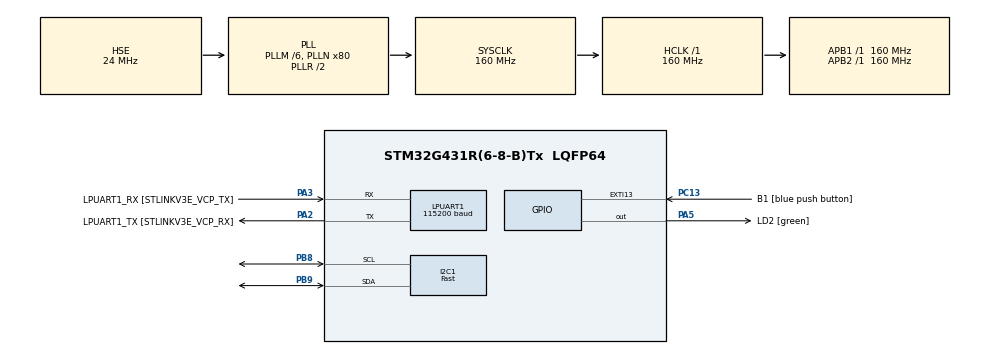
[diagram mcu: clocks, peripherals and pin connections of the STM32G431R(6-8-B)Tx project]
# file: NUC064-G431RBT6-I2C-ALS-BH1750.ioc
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I2C1.I2C_Speed_Mode=I2C_Fast
I2C1.Timing=0x00F07BFF
LPUART1.BaudRate=115200
LPUART1.WordLength=UART_WORDLENGTH_8B
Mcu.Family=STM32G4
Mcu.Name=STM32G431R(6-8-B)Tx
Mcu.Package=LQFP64
NVIC.EXTI15_10_IRQn=true\:0\:0\:false\:false\:true\:true\:true
NVIC.PriorityGroup=NVIC_PRIORITYGROUP_4
PA13.GPIO_Label=T_SWDIO
PA13.Mode=Trace_Asynchronous_SW
PA13.Signal=SYS_JTMS-SWDIO
PA14.GPIO_Label=T_SWCLK
PA14.Mode=Trace_Asynchronous_SW
PA14.Signal=SYS_JTCK-SWCLK
PA2.GPIO_Label=LPUART1_TX [STLINKV3E_VCP_RX]
PA2.Mode=Asynchronous
PA2.Signal=LPUART1_TX
PA3.GPIO_Label=LPUART1_RX [STLINKV3E_VCP_TX]
PA3.Mode=Asynchronous
PA3.Signal=LPUART1_RX
PA5.GPIO_Label=LD2 [green]
PA5.Signal=GPIO_Output
PB3.GPIO_Label=T_SWO
PB3.Mode=Trace_Asynchronous_SW
PB3.Signal=SYS_JTDO-SWO
PB8-BOOT0.GPIO_FM8=SYSCFG_FASTMODEPLUS_PB8
PB8-BOOT0.GPIO_Speed=GPIO_SPEED_FREQ_VERY_HIGH
PB8-BOOT0.Mode=I2C
PB8-BOOT0.Signal=I2C1_SCL
PB9.GPIO_FM9=SYSCFG_FASTMODEPLUS_PB9
PB9.GPIO_Speed=GPIO_SPEED_FREQ_VERY_HIGH
PB9.Mode=I2C
PB9.Signal=I2C1_SDA
PC13.GPIO_Label=B1 [blue push button]
PC13.Signal=GPXTI13
PF0-OSC_IN.Mode=HSE-External-Oscillator
PF0-OSC_IN.Signal=RCC_OSC_IN
PF1-OSC_OUT.Mode=HSE-External-Oscillator
PF1-OSC_OUT.Signal=RCC_OSC_OUT
ProjectManager.HeapSize=0x200
ProjectManager.StackSize=0x400
ProjectManager.TargetToolchain=STM32CubeIDE
RCC.ADC12Freq_Value=160000000
RCC.AHBFreq_Value=160000000
RCC.APB1Freq_Value=160000000
RCC.APB1TimFreq_Value=160000000
RCC.APB2Freq_Value=160000000
RCC.APB2TimFreq_Value=160000000
RCC.CortexFreq_Value=160000000
RCC.EXTERNAL_CLOCK_VALUE=12288000
RCC.HCLKFreq_Value=160000000
RCC.HSE_VALUE=24000000
RCC.HSI48_VALUE=48000000
RCC.HSI_VALUE=16000000
RCC.LSE_VALUE=32768
RCC.PLLM=RCC_PLLM_DIV6
RCC.PLLN=80
RCC.PLLSourceVirtual=RCC_PLLSOURCE_HSE
RCC.RTCClockSelection=RCC_RTCCLKSOURCE_LSE
RCC.SYSCLKFreq_VALUE=160000000
RCC.SYSCLKSource=RCC_SYSCLKSOURCE_PLLCLK
RCC.USBFreq_Value=160000000
RCC.VCOOutputFreq_Value=320000000
VP_SYS_VS_DBSignals.Mode=DisableDeadBatterySignals
board=NUCLEO-G431RB

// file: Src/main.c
/* USER CODE BEGIN Header */
/**
  ******************************************************************************
  * @file           : main.c
  * @brief          : Main program body
  ******************************************************************************
  * @attention
  *
  * <h2><center>&copy; Copyright (c) 2020 STMicroelectronics.
  * All rights reserved.</center></h2>
  *
  * This software component is licensed by ST under BSD 3-Clause license,
  * the "License"; You may not use this file except in compliance with the
  * License. You may obtain a copy of the License at:
  *                        opensource.org/licenses/BSD-3-Clause
  *
  ******************************************************************************
  */
/* USER CODE END Header */

#include "main.h"

/* USER CODE BEGIN Includes */
#include <stdio.h>								// funkce pro ovládání vstupu a výstupu (USART)
#include <string.h>								// definice maker, konstant a deklarace funkcí a typů
#include <stdint.h>								// definice proměnných
#include "bh1750.h"								// knihovna pro light sensor BH1750

/* USER CODE END Includes */

/* USER CODE BEGIN PTD */
#define INTERVAL 500							// interval v ms
//#define STM_STUDIO

/* USER CODE END PTD */

I2C_HandleTypeDef hi2c1;

UART_HandleTypeDef hlpuart1;

/* USER CODE BEGIN PV */
int lastTick;								// Multitasking delay
int i = 0;									// Count impulse
float BH1750_lux;

/* USER CODE END PV */

void SystemClock_Config(void);
static void MX_GPIO_Init(void);
static void MX_I2C1_Init(void);
static void MX_LPUART1_UART_Init(void);
/* USER CODE BEGIN PFP */
void USER_I2c_Scanner(void);

/* USART --------------------------------------------------------------------*/
#ifdef __GNUC__
/* With GCC/RAISONANCE, small printf (option LD Linker->Libraries->Small printf
 set to 'Yes') calls __io_putchar() */
#define PUTCHAR_PROTOTYPE int __io_putchar(int ch)
#else
#define PUTCHAR_PROTOTYPE int fputc(int ch, FILE *f)
#endif /* __GNUC__ */

/* ???? --------------------------------------------------------------------*/
#ifndef __UUID_H
#define __UUID_H
//#define STM32_UUID ((uint32_t *)0x1FF0F420)
#define STM32_UUID ((uint32_t *)UID_BASE)
#endif //__UUID_H

/* Light sensor  ------------------------------------------------------------*/
int lightSensorLux();

/* USER CODE END PFP */

int main(void)
{

  /* MCU Configuration--------------------------------------------------------*/

  /* Reset of all peripherals, Initializes the Flash interface and the Systick. */
  HAL_Init();

  /* Configure the system clock */
  SystemClock_Config();

  /* Initialize all configured peripherals */
  MX_GPIO_Init();
  MX_I2C1_Init();
  MX_LPUART1_UART_Init();
  /* USER CODE BEGIN 2 */
/**************************** i2C - scanner **************************************/
  USER_I2c_Scanner();
/**************************** Light sensor  **************************************/
  BH1750_Init(&hi2c1);							// kontrola připojení. vrací: BH1750_OK & BH1750_ERROR
  BH1750_SetMode(CONTINUOUS_HIGH_RES_MODE_2);	// Nastavení režimu snímání

  /* USER CODE END 2 */

  /* Infinite loop */
  /* USER CODE BEGIN WHILE */
  char buffer[40];
  uint8_t size;

  while (1)
  {
	/*******************  BH1750 **************************************/
	/*
	  //#ifdef STM_STUDIO
	  //BH1750_ReadLight(&BH1750_lux);
	//#else
	  if(BH1750_OK == BH1750_ReadLight(&BH1750_lux))
	  {
		  printf("=>OK\n\r");
		  size = sprintf(buffer, "BH1750 Lux: %.2f\n\r", BH1750_lux);
	  	  HAL_UART_Transmit(&hlpuart1, (uint8_t*)buffer, size, 100);
	  }
	  HAL_Delay(200);
	//#endif
	 */

		if((HAL_GetTick() - lastTick) > INTERVAL)
		{
			lastTick	=	HAL_GetTick();							//Update last Tick
			  if(BH1750_OK == BH1750_ReadLight(&BH1750_lux))
			  {
				  size = sprintf(buffer, "BH1750 Lux: %.2f\n\r", BH1750_lux);
			  	  HAL_UART_Transmit(&hlpuart1, (uint8_t*)buffer, size, 100);
			  }
			//printf ("Count: %04d \n \r", i);
			//HAL_GPIO_TogglePin (GPIOB, LD1_Pin); 					// Přepnout zelenou LED
			//HAL_GPIO_TogglePin (GPIOB, LD2_Pin); 					// Přepnout modrou LED
			//HAL_GPIO_TogglePin (GPIOB, LD3_Pin); 					// Přepnout červenou LED
			i++;
		}
    /* USER CODE END WHILE */

  }
}

void SystemClock_Config(void)
{
  RCC_OscInitTypeDef RCC_OscInitStruct = {0};
  RCC_ClkInitTypeDef RCC_ClkInitStruct = {0};
  RCC_PeriphCLKInitTypeDef PeriphClkInit = {0};

  /** Configure the main internal regulator output voltage
  */
  HAL_PWREx_ControlVoltageScaling(PWR_REGULATOR_VOLTAGE_SCALE1_BOOST);
  /** Initializes the CPU, AHB and APB busses clocks
  */
  RCC_OscInitStruct.OscillatorType = RCC_OSCILLATORTYPE_HSE;
  RCC_OscInitStruct.HSEState = RCC_HSE_ON;
  RCC_OscInitStruct.PLL.PLLState = RCC_PLL_ON;
  RCC_OscInitStruct.PLL.PLLSource = RCC_PLLSOURCE_HSE;
  RCC_OscInitStruct.PLL.PLLM = RCC_PLLM_DIV6;
  RCC_OscInitStruct.PLL.PLLN = 80;
  RCC_OscInitStruct.PLL.PLLP = RCC_PLLP_DIV2;
  RCC_OscInitStruct.PLL.PLLQ = RCC_PLLQ_DIV2;
  RCC_OscInitStruct.PLL.PLLR = RCC_PLLR_DIV2;
  if (HAL_RCC_OscConfig(&RCC_OscInitStruct) != HAL_OK)
  {
    Error_Handler();
  }
  /** Initializes the CPU, AHB and APB busses clocks
  */
  RCC_ClkInitStruct.ClockType = RCC_CLOCKTYPE_HCLK|RCC_CLOCKTYPE_SYSCLK
                              |RCC_CLOCKTYPE_PCLK1|RCC_CLOCKTYPE_PCLK2;
  RCC_ClkInitStruct.SYSCLKSource = RCC_SYSCLKSOURCE_PLLCLK;
  RCC_ClkInitStruct.AHBCLKDivider = RCC_SYSCLK_DIV1;
  RCC_ClkInitStruct.APB1CLKDivider = RCC_HCLK_DIV1;
  RCC_ClkInitStruct.APB2CLKDivider = RCC_HCLK_DIV1;

  if (HAL_RCC_ClockConfig(&RCC_ClkInitStruct, FLASH_LATENCY_7) != HAL_OK)
  {
    Error_Handler();
  }
  /** Initializes the peripherals clocks
  */
  PeriphClkInit.PeriphClockSelection = RCC_PERIPHCLK_LPUART1|RCC_PERIPHCLK_I2C1;
  PeriphClkInit.Lpuart1ClockSelection = RCC_LPUART1CLKSOURCE_PCLK1;
  PeriphClkInit.I2c1ClockSelection = RCC_I2C1CLKSOURCE_PCLK1;
  if (HAL_RCCEx_PeriphCLKConfig(&PeriphClkInit) != HAL_OK)
  {
    Error_Handler();
  }
}

static void MX_I2C1_Init(void)
{

  hi2c1.Instance = I2C1;
  hi2c1.Init.Timing = 0x00F07BFF;
  hi2c1.Init.OwnAddress1 = 0;
  hi2c1.Init.AddressingMode = I2C_ADDRESSINGMODE_7BIT;
  hi2c1.Init.DualAddressMode = I2C_DUALADDRESS_DISABLE;
  hi2c1.Init.OwnAddress2 = 0;
  hi2c1.Init.OwnAddress2Masks = I2C_OA2_NOMASK;
  hi2c1.Init.GeneralCallMode = I2C_GENERALCALL_DISABLE;
  hi2c1.Init.NoStretchMode = I2C_NOSTRETCH_DISABLE;
  if (HAL_I2C_Init(&hi2c1) != HAL_OK)
  {
    Error_Handler();
  }
  /** Configure Analogue filter
  */
  if (HAL_I2CEx_ConfigAnalogFilter(&hi2c1, I2C_ANALOGFILTER_ENABLE) != HAL_OK)
  {
    Error_Handler();
  }
  /** Configure Digital filter
  */
  if (HAL_I2CEx_ConfigDigitalFilter(&hi2c1, 0) != HAL_OK)
  {
    Error_Handler();
  }

}

static void MX_LPUART1_UART_Init(void)
{

  hlpuart1.Instance = LPUART1;
  hlpuart1.Init.BaudRate = 115200;
  hlpuart1.Init.WordLength = UART_WORDLENGTH_8B;
  hlpuart1.Init.StopBits = UART_STOPBITS_1;
  hlpuart1.Init.Parity = UART_PARITY_NONE;
  hlpuart1.Init.Mode = UART_MODE_TX_RX;
  hlpuart1.Init.HwFlowCtl = UART_HWCONTROL_NONE;
  hlpuart1.Init.OneBitSampling = UART_ONE_BIT_SAMPLE_DISABLE;
  hlpuart1.AdvancedInit.AdvFeatureInit = UART_ADVFEATURE_NO_INIT;
  if (HAL_UART_Init(&hlpuart1) != HAL_OK)
  {
    Error_Handler();
  }
  if (HAL_UARTEx_SetTxFifoThreshold(&hlpuart1, UART_TXFIFO_THRESHOLD_1_8) != HAL_OK)
  {
    Error_Handler();
  }
  if (HAL_UARTEx_SetRxFifoThreshold(&hlpuart1, UART_RXFIFO_THRESHOLD_1_8) != HAL_OK)
  {
    Error_Handler();
  }
  if (HAL_UARTEx_DisableFifoMode(&hlpuart1) != HAL_OK)
  {
    Error_Handler();
  }

}

static void MX_GPIO_Init(void)
{
  GPIO_InitTypeDef GPIO_InitStruct = {0};

  /* GPIO Ports Clock Enable */
  __HAL_RCC_GPIOC_CLK_ENABLE();
  __HAL_RCC_GPIOF_CLK_ENABLE();
  __HAL_RCC_GPIOA_CLK_ENABLE();
  __HAL_RCC_GPIOB_CLK_ENABLE();

  /*Configure GPIO pin Output Level */
  HAL_GPIO_WritePin(LD2_GPIO_Port, LD2_Pin, GPIO_PIN_RESET);

  /*Configure GPIO pin : B1_Pin */
  GPIO_InitStruct.Pin = B1_Pin;
  GPIO_InitStruct.Mode = GPIO_MODE_IT_RISING;
  GPIO_InitStruct.Pull = GPIO_NOPULL;
  HAL_GPIO_Init(B1_GPIO_Port, &GPIO_InitStruct);

  /*Configure GPIO pin : LD2_Pin */
  GPIO_InitStruct.Pin = LD2_Pin;
  GPIO_InitStruct.Mode = GPIO_MODE_OUTPUT_PP;
  GPIO_InitStruct.Pull = GPIO_NOPULL;
  GPIO_InitStruct.Speed = GPIO_SPEED_FREQ_LOW;
  HAL_GPIO_Init(LD2_GPIO_Port, &GPIO_InitStruct);

  /* EXTI interrupt init*/
  HAL_NVIC_SetPriority(EXTI15_10_IRQn, 0, 0);
  HAL_NVIC_EnableIRQ(EXTI15_10_IRQn);

}

/* USER CODE BEGIN 4 */

/**************************** UART ***********************************************/
PUTCHAR_PROTOTYPE
{
	HAL_UART_Transmit(&hlpuart1, (uint8_t *)&ch, 1, 0xFFFF);
	return ch;
}
/**************************** UART - END *****************************************/
/**************************** i2C - scanner **************************************/
void USER_I2c_Scanner(void)
{
	printf("\r\n");

	printf("Scanning I2C bus:\r\n");
	HAL_StatusTypeDef result;
	int i;
	for (i=1; i<128; i++)
	{
	  /*
	   * the HAL wants a left aligned i2c address
	   * &hi2c1 is the handle
	   * (uint16_t)(i<<1) is the i2c address left aligned
	   * retries 2
	   * timeout 2
	   */
	  result = HAL_I2C_IsDeviceReady(&hi2c1, (uint16_t)(i<<1), 2, 10);
	  if (result != HAL_OK) // HAL_ERROR or HAL_BUSY or HAL_TIMEOUT
	  {
		  printf("."); // No ACK received at that address
	  }
	  if (result == HAL_OK)
	  {
		  printf("0x%X", i); // Received an ACK at that address
	  }
	}
	printf("\r\n");
}

/* USER CODE END 4 */

void Error_Handler(void)
{
}

/************************ (C) COPYRIGHT STMicroelectronics *****END OF FILE****/
